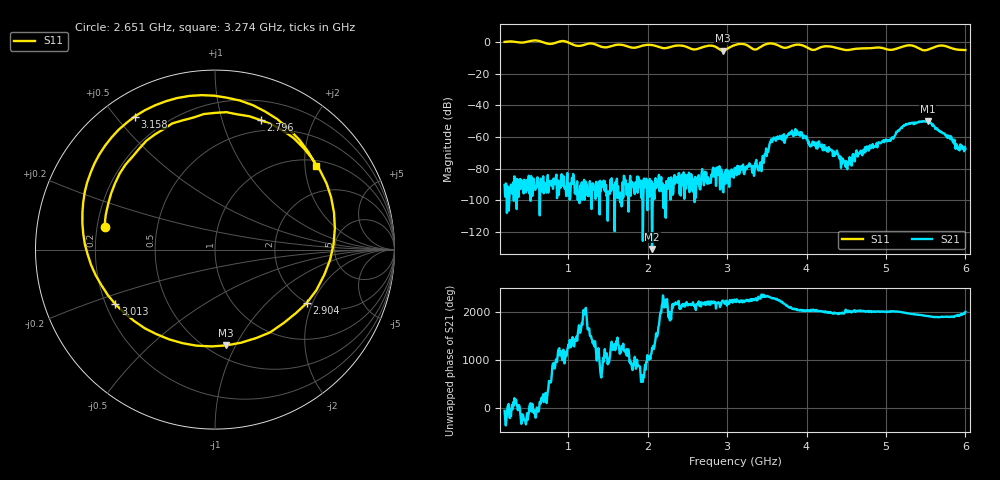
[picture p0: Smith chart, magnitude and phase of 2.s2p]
! NanoVNA-App by OneOfEleven et al v1.1.209 (+OD15)
! Date: 2024-07-30 15:14:06
! Start: 200MHz Stop: 6GHz Points: 801
! S-Parameter data: F S11 S21 S12 S22
# Hz S RI R 50
!  Frequency  S11_Real  S11_Imag  S21_Real  S21_Imag  S12_Real  S12_Imag  S22_Real  S22_Imag
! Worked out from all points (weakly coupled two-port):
!   801 points, 200 MHz to 6 GHz, reference 50 ohm
!   highest |S21| = -49.99 dB at 5.529 GHz (marker M1); lowest = -130.7 dB at 2.056 GHz (marker M2)
!   lowest |S11| = -5.4 dB at 2.948 GHz (marker M3), VSWR 3.32, Z = 30.5 - j45.9 ohm
!   |S11| at or under -10 dB: nowhere
!   S12 and S22 are empty: the file has one direction only
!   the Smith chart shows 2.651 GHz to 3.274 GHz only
!   S11 on the Smith chart (normalised r, x): 2.651 GHz: 0.23, +0.10; 2.796 GHz: 0.39, +1.34; 2.904 GHz: 1.99, -1.82; 3.013 GHz: 0.24, -0.24; 3.158 GHz: 0.09, +0.56; 3.274 GHz: 1.13, +2.29
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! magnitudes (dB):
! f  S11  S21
! 200 MHz  0.1  -90.4
! 1.171 GHz  -2.2  -88.7
! 2.056 GHz  -2.0  -130.7
! 2.136 GHz  -3.0  -86.9
! 2.651 GHz  -4.0  -91.4
! 2.796 GHz  -2.3  -89.0
! 2.904 GHz  -4.6  -78.5
! 2.948 GHz  -5.4  -94.6
! 3.013 GHz  -4.0  -89.0
! 3.1 GHz  -1.9  -79.6
! 3.158 GHz  -1.2  -82.7
! 3.274 GHz  -2.7  -78.8
! 3.412 GHz  -3.5  -77.8
! 3.607 GHz  -1.4  -60.4
! 3.883 GHz  -1.7  -56.1
! 4.072 GHz  -4.9  -65.1
! 4.296 GHz  -2.8  -67.7
! 4.506 GHz  -5.1  -78.8
! 5.036 GHz  -4.9  -62.4
! 5.239 GHz  -2.5  -52.4
! 5.529 GHz  -4.8  -50.0
! 6 GHz  -5.1  -67.6
